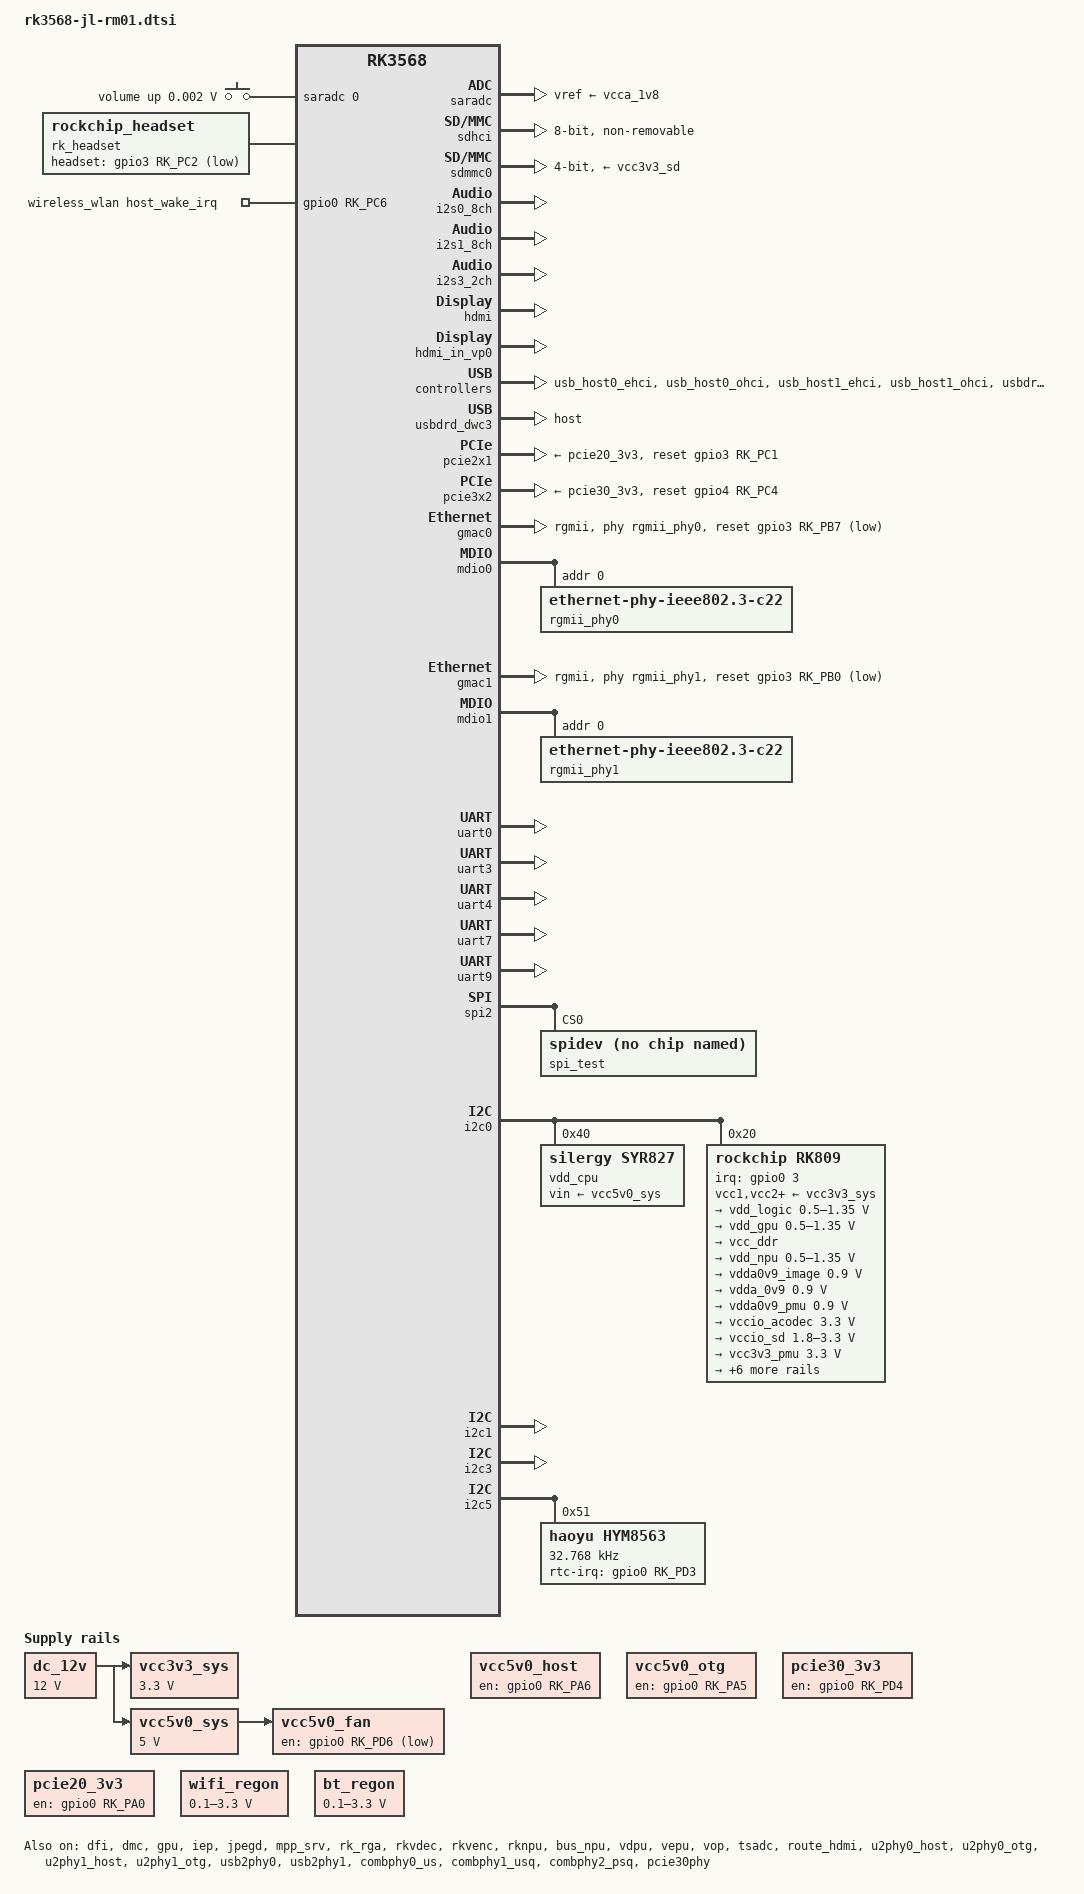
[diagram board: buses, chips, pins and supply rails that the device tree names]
// SPDX-License-Identifier: (GPL-2.0+ OR MIT)
/*
 * Copyright (c) 2020 Rockchip Electronics Co., Ltd.
 *
 */

/dts-v1/;

#include "dt-bindings/usb/pd.h"
#include <dt-bindings/gpio/gpio.h>
#include <dt-bindings/pinctrl/rockchip.h>
#include <dt-bindings/display/rockchip_vop.h>
#include <dt-bindings/pwm/pwm.h>
#include <dt-bindings/pinctrl/rockchip.h>
#include <dt-bindings/input/rk-input.h>
#include <dt-bindings/display/drm_mipi_dsi.h>
#include <dt-bindings/sensor-dev.h>
#include "rk3568.dtsi"
#include "rk3568-linux.dtsi"

/ {
    adc_keys: adc-keys {
		compatible = "adc-keys";
		io-channels = <&saradc 0>;
		io-channel-names = "buttons";
		keyup-threshold-microvolt = <1800000>;
		poll-interval = <100>;

		vol-up-key {
			label = "volume up";
			linux,code = <KEY_VOLUMEUP>;
			press-threshold-microvolt = <1750>;
		};
    };

    dc_12v: dc-12v {
		compatible = "regulator-fixed";
		regulator-name = "dc_12v";
		regulator-always-on;
		regulator-boot-on;
		regulator-min-microvolt = <12000000>;
		regulator-max-microvolt = <12000000>;
	};

    vcc3v3_sys: vcc3v3-sys {
		compatible = "regulator-fixed";
		regulator-name = "vcc3v3_sys";
		regulator-always-on;
		regulator-boot-on;
		regulator-min-microvolt = <3300000>;
		regulator-max-microvolt = <3300000>;
		vin-supply = <&dc_12v>;
	};

    vcc5v0_sys: vcc5v0-sys {
		compatible = "regulator-fixed";
		regulator-name = "vcc5v0_sys";
		regulator-always-on;
		regulator-boot-on;
		regulator-min-microvolt = <5000000>;
		regulator-max-microvolt = <5000000>;
		vin-supply = <&dc_12v>;
	};

	vcc5v0_fan: vcc5v0-fan {
		compatible = "regulator-fixed";
		regulator-name = "vcc5v0_sys";
		regulator-always-on;
		regulator-boot-on;
		gpio = <&gpio0 RK_PD6 GPIO_ACTIVE_HIGH>;
		pinctrl-names = "default";
		pinctrl-0 = <&vcc5v0_fan_en>;
		vin-supply = <&vcc5v0_sys>;
	};

    vcc5v0_host: vcc5v0-host-regulator {
		compatible = "regulator-fixed";
		enable-active-high;
		gpio = <&gpio0 RK_PA6 GPIO_ACTIVE_HIGH>;
		pinctrl-names = "default";
		pinctrl-0 = <&vcc5v0_host_en>;
		regulator-name = "vcc5v0_host";
		regulator-always-on;
		regulator-boot-on;
	};

	vcc5v0_otg: vcc5v0-otg-regulator {
		compatible = "regulator-fixed";
		enable-active-high;
		gpio = <&gpio0 RK_PA5 GPIO_ACTIVE_HIGH>;
		pinctrl-names = "default";
		pinctrl-0 = <&vcc5v0_otg_en>;
		regulator-name = "vcc5v0_otg";
	};

   pcie30_3v3: pcie30-3v3-regulator {
		compatible = "regulator-fixed";
		regulator-name = "pcie30_3v3";
		regulator-boot-on;
		enable-active-high;
		gpios = <&gpio0 RK_PD4 GPIO_ACTIVE_HIGH>;
		pinctrl-names = "default";
		pinctrl-0 = <&pcie30_3v3_en>;
	};

	pcie20_3v3: pcie20-3v3-regulator {
		compatible = "regulator-fixed";
		regulator-name = "pcie20_3v3";
		regulator-boot-on;
		enable-active-high;
		gpios = <&gpio0 RK_PA0 GPIO_ACTIVE_HIGH>;
		pinctrl-names = "default";
		pinctrl-0 = <&pcie20_3v3_en>;
	};

	wifi_regon: wifi-regon {
		compatible = "regulator-gpio";
		regulator-name = "wifi_regon";
		regulator-boot-on;
		regulator-min-microvolt = <100000>;
		regulator-max-microvolt = <3300000>;
		enable-active-high;
		gpios = <&gpio0 RK_PC5 GPIO_ACTIVE_HIGH>;
		gpios-states = <0x1>;
		states = <100000 0x0 3300000 0x1>;
	};

	bt_regon: bt-regon {
		compatible = "regulator-gpio";
		regulator-name = "bt_regon";
		regulator-boot-on;
		regulator-min-microvolt = <100000>;
		regulator-max-microvolt = <3300000>;
		enable-active-high;
		gpios = <&gpio0 RK_PC3 GPIO_ACTIVE_HIGH>;
		gpios-states = <0x1>;
		states = <100000 0x0 3300000 0x1>;
	};

    rk_headset: rk-headset {
		status = "okay";
		compatible = "rockchip_headset";
		headset_gpio = <&gpio3 RK_PC2 GPIO_ACTIVE_LOW>;
		pinctrl-names = "default";
		pinctrl-0 = <&hp_det>;
	};

    rk809_sound: rk809-sound {
		status = "okay";
        compatible = "simple-audio-card";
        simple-audio-card,format = "i2s";
        simple-audio-card,name = "rockchip,rk809-codec";
        simple-audio-card,mclk-fs = <256>;

        simple-audio-card,cpu {
            sound-dai = <&i2s1_8ch>;
        };
        simple-audio-card,codec {
            sound-dai = <&rk809_codec>;
        };
	};

    hdmi_sound: hdmi-sound {
		status = "disabled";
		compatible = "simple-audio-card";
		simple-audio-card,format = "i2s";
		simple-audio-card,mclk-fs = <128>;
		simple-audio-card,name = "rockchip,hdmi";

		simple-audio-card,cpu {
				sound-dai = <&i2s0_8ch>;
		};
		simple-audio-card,codec {
				sound-dai = <&hdmi>;
		};
	};

	wireless_wlan: wireless-wlan {
		status = "okay";
		compatible = "wlan-platdata";
		wifi_chip_type = "rtl8822ce";
		WIFI,host_wake_irq = <&gpio0 RK_PC6 GPIO_ACTIVE_HIGH>;
	};
};

&cpu0 {
	cpu-supply = <&vdd_cpu>;
};

&dfi {
	status = "okay";
};

&dmc {
	center-supply = <&vdd_logic>;
	status = "okay";
};

&gpu {
	mali-supply = <&vdd_gpu>;
	status = "okay";
};

&iep {
	status = "okay";
};

&iep_mmu {
	status = "okay";
};

&jpegd {
	status = "okay";
};

&jpegd_mmu {
	status = "okay";
};

&mpp_srv {
	status = "okay";
};

 /*
  * There are 10 independent IO domains in RK3566/RK3568, including PMUIO[0:2] and VCCIO[1:7].
  * 1/ PMUIO0 and PMUIO1 are fixed-level power domains which cannot be configured;
  * 2/ PMUIO2 and VCCIO1,VCCIO[3:7] domains require that their hardware power supply voltages
  *    must be consistent with the software configuration correspondingly
  *	a/ When the hardware IO level is connected to 1.8V, the software voltage configuration
  *	   should also be configured to 1.8V accordingly;
  *	b/ When the hardware IO level is connected to 3.3V, the software voltage configuration
  *	   should also be configured to 3.3V accordingly;
  * 3/ VCCIO2 voltage control selection (0xFDC20140)
  *	BIT[0]: 0x0: from GPIO_0A7 (default)
  *	BIT[0]: 0x1: from GRF
  *    Default is determined by Pin FLASH_VOL_SEL/GPIO0_A7:
  *	L:VCCIO2 must supply 3.3V
  *	H:VCCIO2 must supply 1.8V
  */
&pmu_io_domains {
	status = "okay";
    pmuio1-supply = <&vcc3v3_pmu>;
	pmuio2-supply = <&vcc3v3_pmu>;
	vccio1-supply = <&vccio_acodec>;//3.3v
	vccio3-supply = <&vccio_sd>;//3.3v
	vccio4-supply = <&vcc_1v8>;
	vccio5-supply = <&vcc_3v3>;
	vccio6-supply = <&vcc_1v8>;
	vccio7-supply = <&vcc_3v3>;
};

&rk_rga {
	status = "okay";
};

&rkvdec {
	status = "okay";
};

&rkvdec_mmu {
	status = "okay";
};

&rkvenc {
	venc-supply = <&vdd_logic>;
	status = "okay";
};

&rkvenc_mmu {
	status = "okay";
};

&rknpu {
	rknpu-supply = <&vdd_npu>;
	status = "okay";
};

&rknpu_mmu {
	status = "okay";
};

&bus_npu {
	bus-supply = <&vdd_logic>;
	pvtm-supply = <&vdd_cpu>;
	status = "okay";
};

&vdpu {
	status = "okay";
};

&vdpu_mmu {
	status = "okay";
};

&vepu {
	status = "okay";
};

&vepu_mmu {
	status = "okay";
};

&vop {
	status = "okay";
	assigned-clocks = <&cru DCLK_VOP0>, <&cru DCLK_VOP1>;
	assigned-clock-parents = <&pmucru PLL_HPLL>, <&cru PLL_VPLL>;
};

&vop_mmu {
	status = "okay";
};

&saradc {
	status = "okay";
	vref-supply = <&vcca_1v8>;
};

&tsadc {
	status = "okay";
};

/*for emmc*/
&sdhci {
	bus-width = <8>;
	no-sdio;
	no-sd;
	non-removable;
	max-frequency = <200000000>;
	full-pwr-cycle-in-suspend;
	status = "okay";
};

/*for sd*/
&sdmmc0 {
	max-frequency = <150000000>;
	no-sdio;
	no-mmc;
	bus-width = <4>;
	cap-mmc-highspeed;
	cap-sd-highspeed;
	disable-wp;
	sd-uhs-sdr104;
	vmmc-supply = <&vcc3v3_sd>;
	vqmmc-supply = <&vccio_sd>;
	pinctrl-names = "default";
	pinctrl-0 = <&sdmmc0_bus4 &sdmmc0_clk &sdmmc0_cmd &sdmmc0_det>;
	status = "okay";
};

/*for i2s*/
&i2s0_8ch {
	status = "okay";
};

&i2s1_8ch {
	status = "okay";
	rockchip,clk-trcm = <1>;
	pinctrl-names = "default";
	pinctrl-0 = <&i2s1m0_sclktx
		     &i2s1m0_lrcktx
		     &i2s1m0_sdi0
		     &i2s1m0_sdo0>;
};

&i2s3_2ch {
	status = "okay";
};
/*for hdmi*/
&hdmi {
	status = "okay";
	rockchip,phy-table =
		<92812500  0x8009 0x0000 0x0270>,
		<165000000 0x800b 0x0000 0x026d>,
		<185625000 0x800b 0x0000 0x01ed>,
		<297000000 0x800b 0x0000 0x01ad>,
		<594000000 0x8029 0x0000 0x0088>,
		<000000000 0x0000 0x0000 0x0000>;
};

&hdmi_in_vp0 {
	status = "okay";
};

&hdmi_in_vp1 {
	status = "disabled";
};

&hdmi_sound {
	status = "okay";
};

&route_hdmi {
    status = "okay";
    connect = <&vp0_out_hdmi>;
};

/*for usb*/
&u2phy0_host {
	phy-supply = <&vcc5v0_host>;
	status = "okay";
};

&u2phy0_otg {
	vbus-supply = <&vcc5v0_otg>;
	status = "okay";
};

&u2phy1_host {
	phy-supply = <&vcc5v0_host>;
	status = "okay";
};

&u2phy1_otg {
	phy-supply = <&vcc5v0_host>;
	status = "okay";
};

&usb2phy0 {
	status = "okay";
};

&usb2phy1 {
	status = "okay";
};

&usb_host0_ehci {
	status = "okay";
};

&usb_host0_ohci {
	status = "okay";
};

&usb_host1_ehci {
	status = "okay";
};

&usb_host1_ohci {
	status = "okay";
};

&combphy0_us {
	status = "okay";
};

&usbdrd30 {
	status = "okay";
};

&usbdrd_dwc3 {
	dr_mode = "host";
	extcon = <&usb2phy0>;
	status = "okay";
};

&combphy1_usq {
	status = "okay";
};

&usbhost30 {
	status = "okay";
};

&usbhost_dwc3 {
	status = "okay";
};

/*for pcie2x1*/
&combphy2_psq {
	status = "okay";
};

&pcie2x1 {
	status = "okay";
	reset-gpios = <&gpio3 RK_PC1 GPIO_ACTIVE_HIGH>;
	vpcie3v3-supply = <&pcie20_3v3>;
};

/*for pcie3x2*/
&pcie30phy {
    status = "okay";
};

&pcie3x2 {
	status = "okay";
    reset-gpios = <&gpio4 RK_PC4 GPIO_ACTIVE_HIGH>;
    vpcie3v3-supply = <&pcie30_3v3>;
};

/*for ethernet*/
&gmac0 {
	phy-mode = "rgmii";
	clock_in_out = "input";

	snps,reset-gpio = <&gpio3 RK_PB7 GPIO_ACTIVE_LOW>;
	snps,reset-active-low;
	/* Reset time is 20ms, 100ms for rtl8211f */
	snps,reset-delays-us = <0 20000 100000>;

	assigned-clocks = <&cru SCLK_GMAC0_RX_TX>, <&cru SCLK_GMAC0>;
	assigned-clock-parents = <&cru SCLK_GMAC0_RGMII_SPEED>, <&gmac0_clkin>;

	pinctrl-names = "default";
	pinctrl-0 = <&gmac0_miim
		     &gmac0_tx_bus2
		     &gmac0_rx_bus2
		     &gmac0_rgmii_clk
		     &gmac0_rgmii_bus
		     &gmac0_clkinout>;

	tx_delay = <0x3c>;
	rx_delay = <0x2f>;

	phy-handle = <&rgmii_phy0>;
	status = "okay";
};

&mdio0 {
	rgmii_phy0: phy@0 {
		compatible = "ethernet-phy-ieee802.3-c22";
		reg = <0x0>;
	};
};

&gmac1 {
	phy-mode = "rgmii";
	clock_in_out = "input";

	snps,reset-gpio = <&gpio3 RK_PB0 GPIO_ACTIVE_LOW>;
	snps,reset-active-low;
	/* Reset time is 20ms, 100ms for rtl8211f */
	snps,reset-delays-us = <0 20000 100000>;

	assigned-clocks = <&cru SCLK_GMAC1_RX_TX>, <&cru SCLK_GMAC1>;
	assigned-clock-parents = <&cru SCLK_GMAC1_RGMII_SPEED>, <&gmac1_clkin>;

	pinctrl-names = "default";
	pinctrl-0 = <&gmac1m1_miim
		     &gmac1m1_tx_bus2
		     &gmac1m1_rx_bus2
		     &gmac1m1_rgmii_clk
		     &gmac1m1_rgmii_bus
		     &gmac1m1_clkinout>;

	tx_delay = <0x4f>;
	rx_delay = <0x26>;

	phy-handle = <&rgmii_phy1>;
	status = "okay";
};

&mdio1 {
	rgmii_phy1: phy@0 {
		compatible = "ethernet-phy-ieee802.3-c22";
		reg = <0x0>;
	};
};

/*for uart/rs485*/
&uart0 {
	status = "okay";
};

&uart3 {
	status = "okay";
	pinctrl-names = "default";
	pinctrl-0 = <&uart3m1_xfer>;
};

&uart4 {
	status = "okay";
    pinctrl-names = "default";
	pinctrl-0 = <&uart4m1_xfer>;
};

&uart7 {
    status = "okay";
    pinctrl-names = "default";
	pinctrl-0 = <&uart7m1_xfer>;
};

&uart9 {
    status = "okay";
    pinctrl-names = "default";
	pinctrl-0 = <&uart9m1_xfer>;
};

/*for spi*/
&spi2 {
	status = "okay";
	pinctrl-names = "default";
	pinctrl-0 = <&spi2m1_cs0 &spi2m1_cs1 &spi2m1_pins>;

	spi_test@0 {
    	status = "okay";
    	compatible = "rockchip,spidev";
    	reg = <0>;                        //chip select 0:cs0  1:cs1
    	//spi-max-frequency = <10000000>;   //spi output clock
    	//dc_control_pin = <&gpio3 RK_PA7 GPIO_ACTIVE_HIGH>;
    	pinctrl-names = "default";
    	//pinctrl-0 = <&spi_oled_pin>;
	};
};

/*for i2c*/
&i2c0 {
	status = "okay";

	vdd_cpu: syr827@40 {
		compatible = "silergy,syr827";
		reg = <0x40>;
		vin-supply = <&vcc5v0_sys>;
		regulator-compatible = "fan53555-reg";
		regulator-name = "vdd_cpu";
		regulator-min-microvolt = <712500>;
		regulator-max-microvolt = <1500000>;
		regulator-init-microvolt = <900000>;
		regulator-ramp-delay = <2300>;
		fcs,suspend-voltage-selector = <1>;
		regulator-boot-on;
		regulator-always-on;
		regulator-state-mem {
			regulator-off-in-suspend;
		};
	};

	rk809: pmic@20 {
		compatible = "rockchip,rk809";
		reg = <0x20>;
		interrupt-parent = <&gpio0>;
		interrupts = <3 IRQ_TYPE_LEVEL_LOW>;

		pinctrl-names = "default", "pmic-sleep",
				"pmic-power-off", "pmic-reset";
		pinctrl-0 = <&pmic_int>;
		pinctrl-1 = <&soc_slppin_slp>, <&rk817_slppin_slp>;
		pinctrl-2 = <&soc_slppin_gpio>, <&rk817_slppin_pwrdn>;
		pinctrl-3 = <&soc_slppin_gpio>, <&rk817_slppin_rst>;

		rockchip,system-power-controller;
		wakeup-source;
		#clock-cells = <1>;
		clock-output-names = "rk808-clkout1", "rk808-clkout2";
		//fb-inner-reg-idxs = <2>;
		/* 1: rst regs (default in codes), 0: rst the pmic */
		pmic-reset-func = <0>;
		/* not save the PMIC_POWER_EN register in uboot */
		not-save-power-en = <1>;

		vcc1-supply = <&vcc3v3_sys>;
		vcc2-supply = <&vcc3v3_sys>;
		vcc3-supply = <&vcc3v3_sys>;
		vcc4-supply = <&vcc3v3_sys>;
		vcc5-supply = <&vcc3v3_sys>;
		vcc6-supply = <&vcc3v3_sys>;
		vcc7-supply = <&vcc3v3_sys>;
		vcc8-supply = <&vcc3v3_sys>;
		vcc9-supply = <&vcc3v3_sys>;

		pwrkey {
			status = "okay";
		};

		pinctrl_rk8xx: pinctrl_rk8xx {
			gpio-controller;
			#gpio-cells = <2>;

			rk817_slppin_null: rk817_slppin_null {
				pins = "gpio_slp";
				function = "pin_fun0";
			};

			rk817_slppin_slp: rk817_slppin_slp {
				pins = "gpio_slp";
				function = "pin_fun1";
			};

			rk817_slppin_pwrdn: rk817_slppin_pwrdn {
				pins = "gpio_slp";
				function = "pin_fun2";
			};

			rk817_slppin_rst: rk817_slppin_rst {
				pins = "gpio_slp";
				function = "pin_fun3";
			};
		};

		regulators {
			vdd_logic: DCDC_REG1 {
				regulator-always-on;
				regulator-boot-on;
				regulator-min-microvolt = <500000>;
				regulator-max-microvolt = <1350000>;
				regulator-init-microvolt = <900000>;
				regulator-ramp-delay = <6001>;
				regulator-initial-mode = <0x2>;
				regulator-name = "vdd_logic";
				regulator-state-mem {
					regulator-off-in-suspend;
				};
			};

			vdd_gpu: DCDC_REG2 {
				regulator-always-on;
				regulator-boot-on;
				regulator-min-microvolt = <500000>;
				regulator-max-microvolt = <1350000>;
				regulator-init-microvolt = <900000>;
				regulator-ramp-delay = <6001>;
				regulator-initial-mode = <0x2>;
				regulator-name = "vdd_gpu";
				regulator-state-mem {
					regulator-off-in-suspend;
				};
			};

			vcc_ddr: DCDC_REG3 {
				regulator-always-on;
				regulator-boot-on;
				regulator-initial-mode = <0x2>;
				regulator-name = "vcc_ddr";
				regulator-state-mem {
					regulator-on-in-suspend;
				};
			};

			vdd_npu: DCDC_REG4 {
				regulator-always-on;
				regulator-boot-on;
				regulator-min-microvolt = <500000>;
				regulator-max-microvolt = <1350000>;
				regulator-init-microvolt = <900000>;
				regulator-ramp-delay = <6001>;
				regulator-initial-mode = <0x2>;
				regulator-name = "vdd_npu";
				regulator-state-mem {
					regulator-off-in-suspend;
				};
			};

			vdda0v9_image: LDO_REG1 {
				regulator-boot-on;
				regulator-always-on;
				regulator-min-microvolt = <900000>;
				regulator-max-microvolt = <900000>;
				regulator-name = "vdda0v9_image";
				regulator-state-mem {
					regulator-off-in-suspend;
				};
			};

			vdda_0v9: LDO_REG2 {
				regulator-always-on;
				regulator-boot-on;
				regulator-min-microvolt = <900000>;
				regulator-max-microvolt = <900000>;
				regulator-name = "vdda_0v9";
				regulator-state-mem {
					regulator-off-in-suspend;
				};
			};

			vdda0v9_pmu: LDO_REG3 {
				regulator-always-on;
				regulator-boot-on;
				regulator-min-microvolt = <900000>;
				regulator-max-microvolt = <900000>;
				regulator-name = "vdda0v9_pmu";
				regulator-state-mem {
					regulator-on-in-suspend;
					regulator-suspend-microvolt = <900000>;
				};
			};

			vccio_acodec: LDO_REG4 {
				regulator-always-on;
				regulator-boot-on;
				regulator-min-microvolt = <3300000>;
				regulator-max-microvolt = <3300000>;
				regulator-name = "vccio_acodec";
				regulator-state-mem {
					regulator-off-in-suspend;
				};
			};

			vccio_sd: LDO_REG5 {
				regulator-always-on;
				regulator-boot-on;
				regulator-min-microvolt = <1800000>;
				regulator-max-microvolt = <3300000>;
				regulator-name = "vccio_sd";
				regulator-state-mem {
					regulator-off-in-suspend;
				};
			};

			vcc3v3_pmu: LDO_REG6 {
				regulator-always-on;
				regulator-boot-on;
				regulator-min-microvolt = <3300000>;
				regulator-max-microvolt = <3300000>;
				regulator-name = "vcc3v3_pmu";
				regulator-state-mem {
					regulator-on-in-suspend;
					regulator-suspend-microvolt = <3300000>;
				};
			};

			vcca_1v8: LDO_REG7 {
				regulator-always-on;
				regulator-boot-on;
				regulator-min-microvolt = <1800000>;
				regulator-max-microvolt = <1800000>;
				regulator-name = "vcca_1v8";
				regulator-state-mem {
					regulator-off-in-suspend;
				};
			};

			vcca1v8_pmu: LDO_REG8 {
				regulator-always-on;
				regulator-boot-on;
				regulator-min-microvolt = <1800000>;
				regulator-max-microvolt = <1800000>;
				regulator-name = "vcca1v8_pmu";
				regulator-state-mem {
					regulator-on-in-suspend;
					regulator-suspend-microvolt = <1800000>;
				};
			};

			vcca1v8_image: LDO_REG9 {
				regulator-always-on;
				regulator-boot-on;
				regulator-min-microvolt = <1800000>;
				regulator-max-microvolt = <1800000>;
				regulator-name = "vcca1v8_image";
				regulator-state-mem {
					regulator-off-in-suspend;
				};
			};

			vcc_1v8: DCDC_REG5 {
				regulator-always-on;
				regulator-boot-on;
				regulator-min-microvolt = <1800000>;
				regulator-max-microvolt = <1800000>;
				regulator-name = "vcc_1v8";
				regulator-state-mem {
					regulator-off-in-suspend;
				};
			};

			vcc_3v3: SWITCH_REG1 {
				regulator-always-on;
				regulator-boot-on;
				regulator-name = "vcc_3v3";
				regulator-state-mem {
					regulator-off-in-suspend;
				};
			};

			vcc3v3_sd: SWITCH_REG2 {
				regulator-always-on;
				regulator-boot-on;
				regulator-name = "vcc3v3_sd";
				regulator-state-mem {
					regulator-off-in-suspend;
				};
			};
		};

		rk809_codec: codec {
			#sound-dai-cells = <0>;
			compatible = "rockchip,rk809-codec", "rockchip,rk817-codec";
			clocks = <&cru I2S1_MCLKOUT>;
			clock-names = "mclk";
			assigned-clocks = <&cru I2S1_MCLKOUT>, <&cru I2S1_MCLK_TX_IOE>;
			assigned-clock-rates = <12288000>;
			assigned-clock-parents = <&cru I2S1_MCLKOUT_TX>, <&cru I2S1_MCLKOUT_TX>;
			pinctrl-names = "default";
			pinctrl-0 = <&i2s1m0_mclk>;
			hp-volume = <20>;
			spk-volume = <3>;
			mic-in-differential;
			status = "okay";
		};
	};
};

&i2c1 {
	status = "okay";
};

&i2c3 {
    status = "okay";
};

&i2c5 {
	status = "okay";

	hym8563: hym8563@51 {
		status = "okay";
		compatible = "haoyu,hym8563";
		reg = <0x51>;
		#clock-cells = <0>;
		rtc-irq-gpio = <&gpio0 RK_PD3 IRQ_TYPE_EDGE_FALLING>;
		clock-frequency = <32768>;
		//clock-output-names = "xin32k";
		/* rtc_int is not connected */
	};

    at24c02: at24c02@50 {
        status = "disabled";
        compatible = "atmel,24c02";
        reg = <0x50>;
    }; 
};

&pinctrl {
    headphone {
		hp_det: hp-det {
			rockchip,pins = <3 RK_PC2 RK_FUNC_GPIO &pcfg_pull_down>;
		};
	};

	pmic {
		pmic_int: pmic_int {
			rockchip,pins =
				<0 RK_PA3 RK_FUNC_GPIO &pcfg_pull_up>;
		};

		soc_slppin_gpio: soc_slppin_gpio {
			rockchip,pins =
				<0 RK_PA2 RK_FUNC_GPIO &pcfg_output_low_pull_down>;
		};

		soc_slppin_slp: soc_slppin_slp {
			rockchip,pins =
				<0 RK_PA2 1 &pcfg_pull_up>;
		};

		soc_slppin_rst: soc_slppin_rst {
			rockchip,pins =
				<0 RK_PA2 2 &pcfg_pull_none>;
		};
	};

    usb {
		vcc5v0_host_en: vcc5v0-host-en {
			rockchip,pins = <0 RK_PA6 RK_FUNC_GPIO &pcfg_pull_none>;
		};

		vcc5v0_otg_en: vcc5v0-otg-en {
			rockchip,pins = <0 RK_PA5 RK_FUNC_GPIO &pcfg_pull_none>;
		};
	};

	pcie {
		pcie30_3v3_en: pcie30-3v3-en {
			rockchip,pins = <0 RK_PD4 RK_FUNC_GPIO &pcfg_pull_none>;
		};

		pcie20_3v3_en: pcie20-3v3-en {
			rockchip,pins = <0 RK_PA0 RK_FUNC_GPIO &pcfg_pull_none>;
		};
	};

	fan {
		vcc5v0_fan_en: vcc5v0-fan-en {
			rockchip,pins = <0 RK_PD6 RK_FUNC_GPIO &pcfg_pull_none>;
		};
	};

	leds {
        leds_gpio: leds-gpio {
            rockchip,pins = <0 RK_PC2 RK_FUNC_GPIO &pcfg_pull_none>;
        };
    };
};
